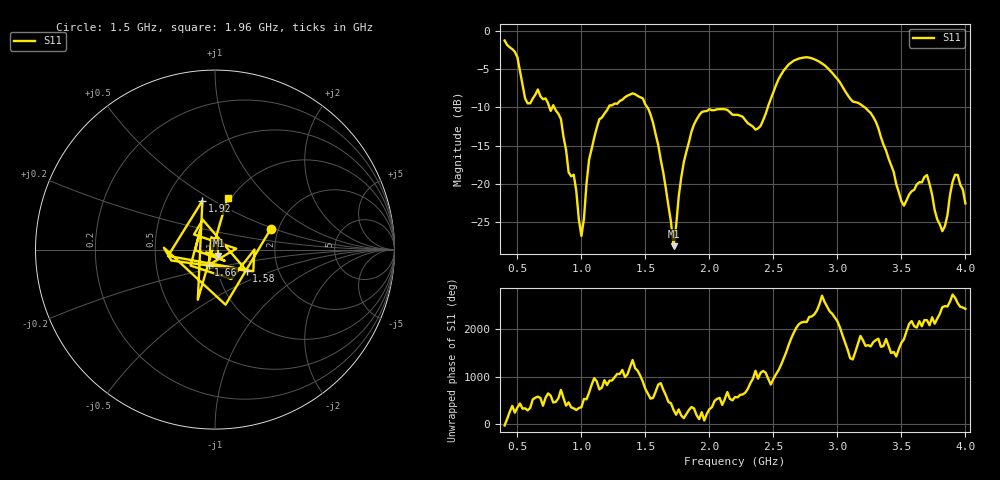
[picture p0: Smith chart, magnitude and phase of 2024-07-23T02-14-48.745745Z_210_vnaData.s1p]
!Created with skrf (http://scikit-rf.org).
# Hz S RI R 50.0
!freq ReS11 ImS11
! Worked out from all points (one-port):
!   181 points, 400 MHz to 4 GHz, reference 50 ohm
!   lowest |S11| = -28.1 dB at 1.72 GHz (marker M1), VSWR 1.08, Z = 51.8 - j3.58 ohm
!   |S11| at or under -10 dB: 788.4 MHz to 1.212 GHz (423.3 MHz wide, 42.3 % of centre); 1.516 GHz to 2.456 GHz (939.7 MHz wide, 47.3 % of centre); 3.215 GHz to end of sweep (the widest 3 of 4)
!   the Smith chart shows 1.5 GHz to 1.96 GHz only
!   S11 on the Smith chart (normalised r, x): 1.5 GHz: 1.82, +0.47; 1.58 GHz: 1.38, -0.34; 1.66 GHz: 0.92, -0.16; 1.92 GHz: 0.76, +0.45; 1.96 GHz: 0.96, +0.61
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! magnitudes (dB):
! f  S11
! 400 MHz  -1.3
! 500 MHz  -3.4
! 580 MHz  -9.5
! 660 MHz  -7.7
! 860 MHz  -13.8
! 940 MHz  -18.8
! 1 GHz  -26.8
! 1.06 GHz  -16.8
! 1.12 GHz  -12.7
! 1.3 GHz  -9.2
! 1.5 GHz  -9.6
! 1.58 GHz  -13.5
! 1.66 GHz  -20.6
! 1.72 GHz  -28.1
! 1.76 GHz  -21.7
! 1.92 GHz  -11.0
! 1.96 GHz  -10.5
! 2.2 GHz  -11.0
! 2.38 GHz  -12.7
! 2.66 GHz  -3.9
! 3.1 GHz  -8.9
! 3.3 GHz  -11.9
! 3.52 GHz  -22.8
! 3.56 GHz  -21.4
! 3.7 GHz  -18.8
! 3.82 GHz  -26.2
! 3.92 GHz  -18.8
! 4 GHz  -22.5
